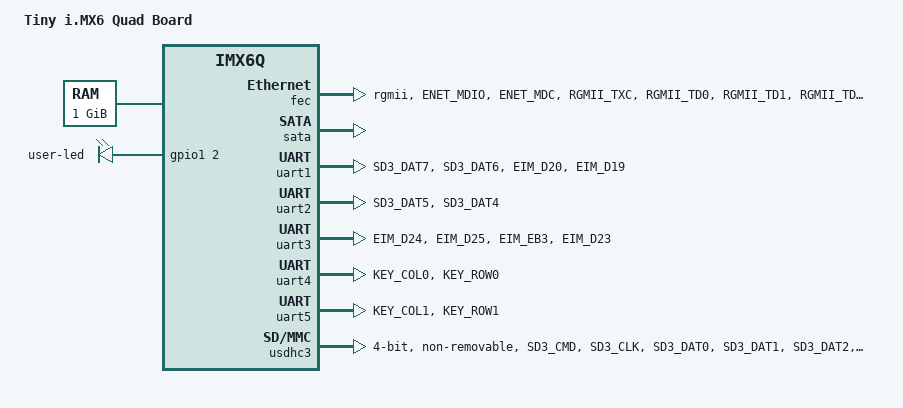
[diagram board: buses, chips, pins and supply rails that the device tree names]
/*
 * Copyright 2015 3DRobotics
 *
 * Author: Allan Matthew
 *
 * This program is free software; you can redistribute it and/or modify
 * it under the terms of the GNU General Public License version 2 as
 * published by the Free Software Foundation.
 *
 */

/dts-v1/;
#include "imx6q.dtsi"

/ {
	model = "Tiny i.MX6 Quad Board";
	compatible = "tiny,imx6q-tiny", "fsl,imx6q";

	memory {
		reg = <0x10000000 0x40000000>;
	};

        leds {
                compatible = "gpio-leds";

                user-led {
                        gpios = <&gpio1 2 0>;
                        linux,default-trigger = "heartbeat";
			default-state = "off";
                };
        };
};

&iomuxc {
	imx6q-tiny {
		pinctrl_enet: enetgrp {
                        fsl,pins = <
                                MX6QDL_PAD_ENET_MDIO__ENET_MDIO         0x1b0b0
                                MX6QDL_PAD_ENET_MDC__ENET_MDC           0x1b0b0
                                MX6QDL_PAD_RGMII_TXC__RGMII_TXC         0x1b0b0
                                MX6QDL_PAD_RGMII_TD0__RGMII_TD0         0x1b0b0
                                MX6QDL_PAD_RGMII_TD1__RGMII_TD1         0x1b0b0
                                MX6QDL_PAD_RGMII_TD2__RGMII_TD2         0x1b0b0
                                MX6QDL_PAD_RGMII_TD3__RGMII_TD3         0x1b0b0
                                MX6QDL_PAD_RGMII_TX_CTL__RGMII_TX_CTL   0x1b0b0
                                MX6QDL_PAD_ENET_REF_CLK__ENET_TX_CLK    0x1b0b0
                                MX6QDL_PAD_RGMII_RXC__RGMII_RXC         0x1b0b0
                                MX6QDL_PAD_RGMII_RD0__RGMII_RD0         0x1b0b0
                                MX6QDL_PAD_RGMII_RD1__RGMII_RD1         0x1b0b0
                                MX6QDL_PAD_RGMII_RD2__RGMII_RD2         0x1b0b0
                                MX6QDL_PAD_RGMII_RD3__RGMII_RD3         0x1b0b0
                                MX6QDL_PAD_RGMII_RX_CTL__RGMII_RX_CTL   0x1b0b0
                                MX6QDL_PAD_GPIO_16__ENET_REF_CLK        0x4001b0a8
                        >;
                };

		pinctrl_uart1: uart1grp {
			fsl,pins = <
				MX6QDL_PAD_SD3_DAT7__UART1_TX_DATA	0x1b0b1
				MX6QDL_PAD_SD3_DAT6__UART1_RX_DATA	0x1b0b1
				MX6QDL_PAD_EIM_D20__UART1_RTS_B		0x1b0b1
				MX6QDL_PAD_EIM_D19__UART1_CTS_B		0x1b0b1
			>;
		};

		pinctrl_uart2: uart2grp {
			fsl,pins = <
				MX6QDL_PAD_SD3_DAT5__UART2_TX_DATA	0x1b0b1
				MX6QDL_PAD_SD3_DAT4__UART2_RX_DATA	0x1b0b1
			>;
		};
		
		pinctrl_uart3: uart3grp {
			fsl,pins = <
				MX6QDL_PAD_EIM_D24__UART3_TX_DATA	0x1b0b1
				MX6QDL_PAD_EIM_D25__UART3_RX_DATA	0x1b0b1
				MX6QDL_PAD_EIM_EB3__UART3_RTS_B		0x1b0b1
				MX6QDL_PAD_EIM_D23__UART3_CTS_B		0x1b0b1
			>;
		};
		
		pinctrl_uart4: uart4grp {
			fsl,pins = <
				MX6QDL_PAD_KEY_COL0__UART4_TX_DATA	0x1b0b1
				MX6QDL_PAD_KEY_ROW0__UART4_RX_DATA	0x1b0b1
			>;
		};
		
		pinctrl_uart5: uart5grp {
			fsl,pins = <
				MX6QDL_PAD_KEY_COL1__UART5_TX_DATA	0x1b0b1
				MX6QDL_PAD_KEY_ROW1__UART5_RX_DATA	0x1b0b1
			>;
		};

		pinctrl_usdhc3: usdhc3grp {
			fsl,pins = <
				MX6QDL_PAD_SD3_CMD__SD3_CMD		0x17059
				MX6QDL_PAD_SD3_CLK__SD3_CLK		0x10059
				MX6QDL_PAD_SD3_DAT0__SD3_DATA0		0x17059
				MX6QDL_PAD_SD3_DAT1__SD3_DATA1		0x17059
				MX6QDL_PAD_SD3_DAT2__SD3_DATA2		0x17059
				MX6QDL_PAD_SD3_DAT3__SD3_DATA3		0x17059
			>;
		};

		pinctrl_hog: hoggrp {
			fsl,pins = <
				MX6QDL_PAD_SD3_RST__GPIO7_IO08		0x80000000
				MX6QDL_PAD_NANDF_CS3__GPIO6_IO16	0x80000000
			>;
		};

	};
};

&fec {
        pinctrl-names = "default";
        pinctrl-0 = <&pinctrl_enet>;
        phy-mode = "rgmii";
        phy-reset-gpios = <&gpio1 25 0>;
        fsl,magic-packet;
        status = "okay";
};

&sata {
	status = "okay";
};

&uart1 {
	pinctrl-names = "default";
	pinctrl-0 = <&pinctrl_uart1>;
	fsl,uart-has-rtscts;
	status = "okay";
};

&uart2 {
	pinctrl-names = "default";
	pinctrl-0 = <&pinctrl_uart2>;
	status = "okay";
};

&uart3 {
	pinctrl-names = "default";
	pinctrl-0 = <&pinctrl_uart3>;
	fsl,uart-has-rtscts;
	status = "okay";
};

&uart4 {
	pinctrl-names = "default";
	pinctrl-0 = <&pinctrl_uart4>;
	status = "okay";
};

&uart5 {
	pinctrl-names = "default";
	pinctrl-0 = <&pinctrl_uart5>;
	status = "okay";
};

&usdhc3 {
	pinctrl-names = "default";
	pinctrl-0 = <&pinctrl_usdhc3>;
        bus-width = <4>;
        cd-gpios = <&gpio7 8 0>;
        wp-gpios = <&gpio6 16 0>;
	non-removable;
	status = "okay";
};
